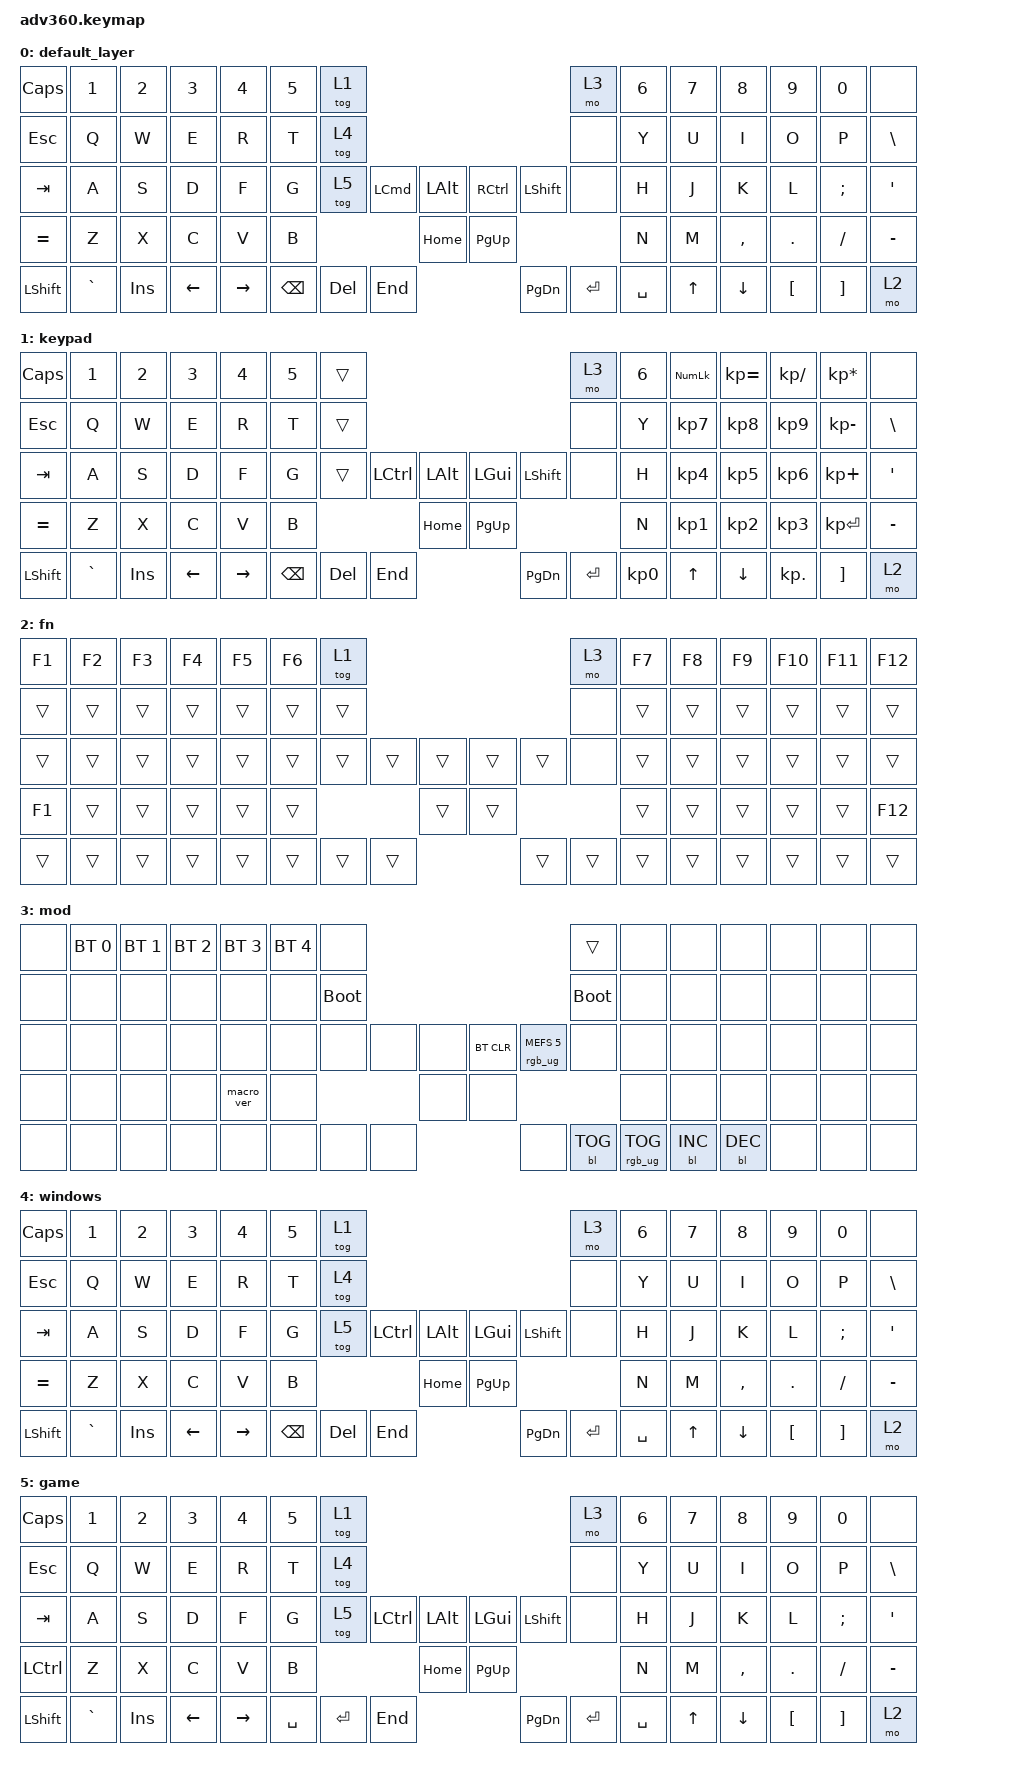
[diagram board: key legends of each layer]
#include <behaviors.dtsi>
#include <dt-bindings/zmk/keys.h>
#include <dt-bindings/zmk/bt.h>
#include <dt-bindings/zmk/rgb.h>
#include <dt-bindings/zmk/backlight.h>

/ {
    behaviors {
      #include "macros.dtsi"
      #include "version.dtsi"
      #ifndef VERSION_MACRO
      macro_ver: macro_ver {
        compatible = "zmk,behavior-macro";
        label = "macro_version";
        #binding-cells = <0>;
        bindings = <&kp RET>;
      };
      #endif

      hm: homerow_mods {
          compatible = "zmk,behavior-hold-tap";
          label = "HOMEROW_MODS";
          #binding-cells = <2>;
          tapping-term-ms = <200>;
          quick_tap_ms = <175>;
          flavor = "tap-preferred";
          bindings = <&kp>, <&kp>;
      };
    };

  keymap {
    compatible = "zmk,keymap";

    default_layer {
      bindings = <
        &kp CAPS    &kp N1        &kp N2        &kp N3        &kp N4        &kp N5        &tog 1                                                                          &mo 3         &kp N6    &kp N7      &kp N8        &kp N9        &kp N0          &none
        &kp ESC     &kp Q         &kp W         &kp E         &kp R         &kp T         &tog 4                                                                          &none         &kp Y     &kp U       &kp I         &kp O         &kp P           &kp BSLH
        &kp TAB     &kp A         &kp S         &kp D         &kp F         &kp G         &tog 5            &kp LCMD  &kp LALT        &kp RCTRL   &kp LSHIFT              &none         &kp H     &kp J       &kp K         &kp L         &kp SEMI        &kp SQT
        &kp EQUAL   &kp Z         &kp X         &kp C         &kp V         &kp B                                     &kp HOME        &kp PG_UP                                         &kp N     &kp M       &kp COMMA     &kp DOT       &kp FSLH        &kp MINUS
        &kp LSHIFT  &kp GRAVE     &kp INSERT    &kp LEFT      &kp RIGHT                           &kp BSPC  &kp DEL   &kp END         &kp PG_DN   &kp ENTER   &kp SPACE                           &kp UP      &kp DOWN      &kp LBKT      &kp RBKT        &mo 2
      >;
    };
    keypad {
      bindings = <
        &kp CAPS    &kp N1        &kp N2        &kp N3        &kp N4        &kp N5        &trans                                                                          &mo 3         &kp N6    &kp KP_NUM  &kp KP_EQUAL  &kp KP_DIVIDE &kp KP_MULTIPLY &none
        &kp ESC     &kp Q         &kp W         &kp E         &kp R         &kp T         &trans                                                                          &none         &kp Y     &kp KP_N7   &kp KP_N8     &kp KP_N9     &kp KP_MINUS    &kp BSLH
        &kp TAB     &kp A         &kp S         &kp D         &kp F         &kp G         &trans            &kp LCTRL &kp LALT        &kp LGUI    &kp LSHIFT              &none         &kp H     &kp KP_N4   &kp KP_N5     &kp KP_N6     &kp KP_PLUS     &kp SQT
        &kp EQUAL   &kp Z         &kp X         &kp C         &kp V         &kp B                                     &kp HOME        &kp PG_UP                                         &kp N     &kp KP_N1   &kp KP_N2     &kp KP_N3     &kp KP_ENTER    &kp MINUS
        &kp LSHIFT  &kp GRAVE     &kp INSERT    &kp LEFT      &kp RIGHT                           &kp BSPC  &kp DEL   &kp END         &kp PG_DN   &kp ENTER   &kp KP_N0                           &kp UP      &kp DOWN      &kp KP_DOT    &kp RBKT        &mo 2
      >;
    };
    fn {
      bindings = <
        &kp F1      &kp F2        &kp F3        &kp F4        &kp F5        &kp F6        &tog 1                                                                          &mo 3         &kp F7    &kp F8      &kp F9        &kp F10       &kp F11         &kp F12
        &trans      &trans        &trans        &trans        &trans        &trans        &trans                                                                          &none         &trans    &trans      &trans        &trans        &trans          &trans
        &trans      &trans        &trans        &trans        &trans        &trans        &trans            &trans    &trans          &trans      &trans                  &none         &trans    &trans      &trans        &trans        &trans          &trans
        &kp F1      &trans        &trans        &trans        &trans        &trans                                    &trans          &trans                                            &trans    &trans      &trans        &trans        &trans          &kp F12
        &trans      &trans        &trans        &trans        &trans                              &trans    &trans    &trans          &trans      &trans      &trans                              &trans      &trans        &trans        &trans          &trans
      >;
    };
    mod {
      bindings = <
        &none       &bt BT_SEL 0  &bt BT_SEL 1  &bt BT_SEL 2  &bt BT_SEL 3  &bt BT_SEL 4  &none                                                                           &trans        &none     &none       &none         &none         &none           &none
        &none       &none         &none         &none         &none         &none         &bootloader                                                                     &bootloader   &none     &none       &none         &none         &none           &none
        &none       &none         &none         &none         &none         &none         &none             &none     &none           &bt BT_CLR  &rgb_ug RGB_MEFS_CMD 5  &none         &none     &none       &none         &none         &none           &none
        &none       &none         &none         &none         &macro_ver    &none                                     &none           &none                                             &none     &none       &none         &none         &none           &none
        &none       &none         &none         &none         &none                               &none     &none     &none           &none       &bl BL_TOG  &rgb_ug RGB_TOG                     &bl BL_INC  &bl BL_DEC    &none         &none           &none
      >;
    };
    windows {
      bindings = <
        &kp CAPS    &kp N1        &kp N2        &kp N3        &kp N4        &kp N5        &tog 1                                                                          &mo 3         &kp N6    &kp N7      &kp N8        &kp N9        &kp N0          &none
        &kp ESC     &kp Q         &kp W         &kp E         &kp R         &kp T         &tog 4                                                                          &none         &kp Y     &kp U       &kp I         &kp O         &kp P           &kp BSLH
        &kp TAB     &kp A         &kp S         &kp D         &kp F         &kp G         &tog 5            &kp LCTRL &kp LALT        &kp LGUI    &kp LSHIFT              &none         &kp H     &kp J       &kp K         &kp L         &kp SEMI        &kp SQT
        &kp EQUAL   &kp Z         &kp X         &kp C         &kp V         &kp B                                     &kp HOME        &kp PG_UP                                         &kp N     &kp M       &kp COMMA     &kp DOT       &kp FSLH        &kp MINUS
        &kp LSHIFT  &kp GRAVE     &kp INSERT    &kp LEFT      &kp RIGHT                           &kp BSPC  &kp DEL   &kp END         &kp PG_DN   &kp ENTER   &kp SPACE                           &kp UP      &kp DOWN      &kp LBKT      &kp RBKT        &mo 2
      >;
    };
    game {
      bindings = <
        &kp CAPS    &kp N1        &kp N2        &kp N3        &kp N4        &kp N5        &tog 1                                                                          &mo 3         &kp N6    &kp N7      &kp N8        &kp N9        &kp N0          &none
        &kp ESC     &kp Q         &kp W         &kp E         &kp R         &kp T         &tog 4                                                                          &none         &kp Y     &kp U       &kp I         &kp O         &kp P           &kp BSLH
        &kp TAB     &kp A         &kp S         &kp D         &kp F         &kp G         &tog 5            &kp LCTRL &kp LALT        &kp LGUI    &kp LSHIFT              &none         &kp H     &kp J       &kp K         &kp L         &kp SEMI        &kp SQT
        &kp LCTRL   &kp Z         &kp X         &kp C         &kp V         &kp B                                     &kp HOME        &kp PG_UP                                         &kp N     &kp M       &kp COMMA     &kp DOT       &kp FSLH        &kp MINUS
        &kp LSHIFT  &kp GRAVE     &kp INSERT    &kp LEFT      &kp RIGHT                           &kp SPACE &kp ENTER &kp END         &kp PG_DN   &kp ENTER   &kp SPACE                           &kp UP      &kp DOWN      &kp LBKT      &kp RBKT        &mo 2
      >;
    };
  };
};
